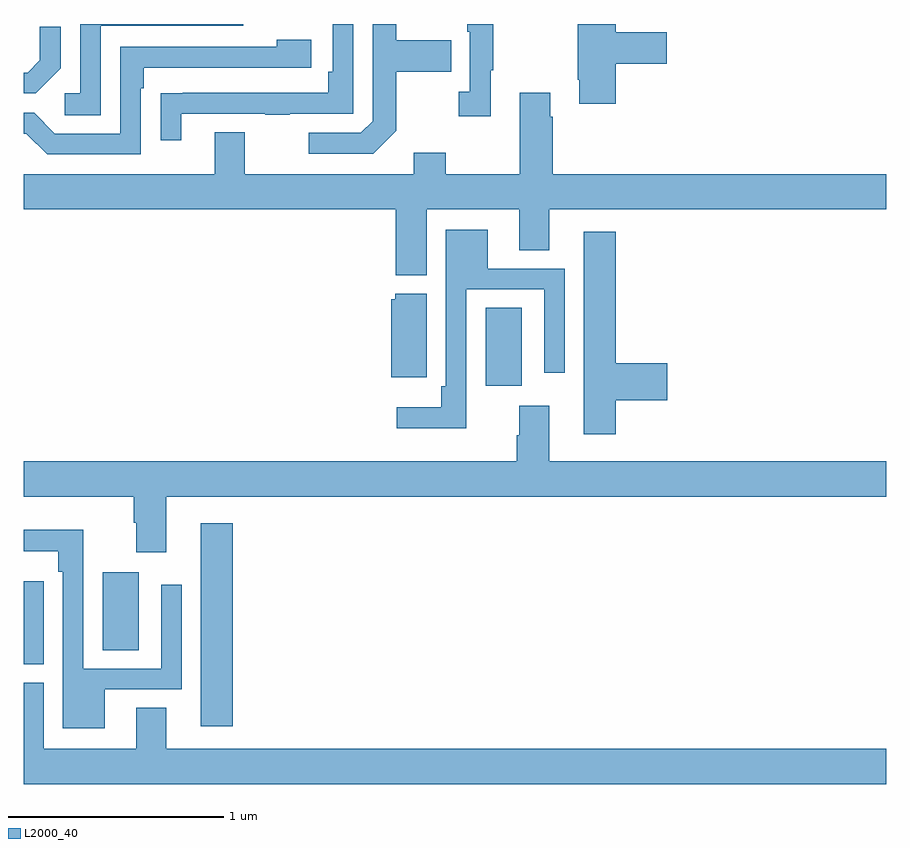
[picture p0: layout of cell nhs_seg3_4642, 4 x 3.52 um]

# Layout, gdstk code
import gdstk
lib = gdstk.Library(unit=1e-6, precision=1e-09)
def R(c, l, rs):  # rectangles x0, y0, x1, y1
    for r in rs: c.add(gdstk.rectangle(r[:2], r[2:], *l))
def P(c, l, *ps):  # polygons
    for p in ps: c.add(gdstk.Polygon(p, *l))
L2000_40 = (2000, 40)

nhs_seg3_4642 = lib.new_cell('nhs_seg3_4642')
R(nhs_seg3_4642, L2000_40, [(359.822,741.144,359.969,742.084), (359,741.431,359.092,741.817), (359.366,741.496,359.533,741.859), (361.142,742.722,361.309,743.084)])
P(nhs_seg3_4642, L2000_40, [(359.731,743.985),(360.121,743.985),(360.121,743.98),(360.233,743.98),(360.233,743.985),(360.528,743.985),(360.528,744.4),(360.432,744.4),(360.432,744.178),(360.412,744.178),(360.412,744.081),(359.737,744.081),(359.737,744.08),(359.635,744.08),(359.635,743.862),(359.731,743.862)],
  [(360.727,743.905),(360.727,744.178),(360.983,744.178),(360.983,744.325),(360.727,744.325),(360.727,744.4),(360.618,744.4),(360.618,743.949),(360.564,743.895),(360.321,743.895),(360.321,743.799),(360.621,743.799)],
  [(359.358,744.393),(360.017,744.393),(360.017,744.4),(359.262,744.4),(359.262,744.078),(359.19,744.078),(359.19,743.977),(359.358,743.977)],
  [(361.745,744.215),(361.981,744.215),(361.981,744.362),(361.745,744.362),(361.745,744.4),(361.57,744.4),(361.57,744.142),(361.577,744.142),(361.577,744.03),(361.745,744.03)],
  [(361.165,744.185),(361.177,744.185),(361.177,744.4),(361.056,744.4),(361.056,744.365),(361.068,744.365),(361.068,744.086),(361.017,744.086),(361.017,743.973),(361.165,743.973)],
  [(359.172,744.194),(359.172,744.388),(359.075,744.388),(359.075,744.231),(359.018,744.174),(359,744.174),(359,744.078),(359.056,744.078)],
  [(359.544,744.101),(359.557,744.101),(359.557,744.198),(360.334,744.198),(360.334,744.328),(360.173,744.328),(360.173,744.294),(359.448,744.294),(359.448,743.892),(359.145,743.892),(359.049,743.988),(359,743.988),(359,743.892),(359.013,743.892),(359.109,743.796),(359.544,743.796)],
  [(360.868,743.54),(361.298,743.54),(361.298,743.35),(361.438,743.35),(361.438,743.54),(363,743.54),(363,743.704),(361.454,743.704),(361.454,743.969),(361.441,743.969),(361.441,744.082),(361.301,744.082),(361.301,743.704),(360.957,743.704),(360.957,743.803),(360.809,743.803),(360.809,743.704),(360.025,743.704),(360.025,743.899),(359.885,743.899),(359.885,743.704),(359,743.704),(359,743.54),(360.725,743.54),(360.725,743.234),(360.868,743.234)],
  [(361.053,743.169),(361.413,743.169),(361.413,742.782),(361.509,742.782),(361.509,743.265),(361.153,743.265),(361.153,743.446),(360.957,743.446),(360.957,742.72),(360.937,742.72),(360.937,742.624),(360.729,742.624),(360.729,742.526),(361.053,742.526)],
  [(361.745,742.655),(361.984,742.655),(361.984,742.826),(361.745,742.826),(361.745,743.437),(361.598,743.437),(361.598,742.497),(361.745,742.497)],
  [(360.868,743.149),(360.723,743.149),(360.723,743.124),(360.704,743.124),(360.704,742.763),(360.868,742.763)],
  [(359.662,742.208),(363,742.208),(363,742.372),(361.438,742.372),(361.438,742.63),(361.298,742.63),(361.298,742.493),(361.286,742.493),(361.286,742.372),(359,742.372),(359,742.208),(359.51,742.208),(359.51,742.088),(359.522,742.088),(359.522,741.951),(359.662,741.951)],
  [(359.377,741.315),(359.733,741.315),(359.733,741.799),(359.637,741.799),(359.637,741.411),(359.277,741.411),(359.277,742.054),(359,742.054),(359,741.956),(359.161,741.956),(359.161,741.86),(359.181,741.86),(359.181,741.134),(359.377,741.134)],
  [(363,741.04),(359.662,741.04),(359.662,741.23),(359.522,741.23),(359.522,741.04),(359.092,741.04),(359.092,741.346),(359,741.346),(359,740.876),(363,740.876)])

lib.write_gds('nhs_seg3_4642.gds')
